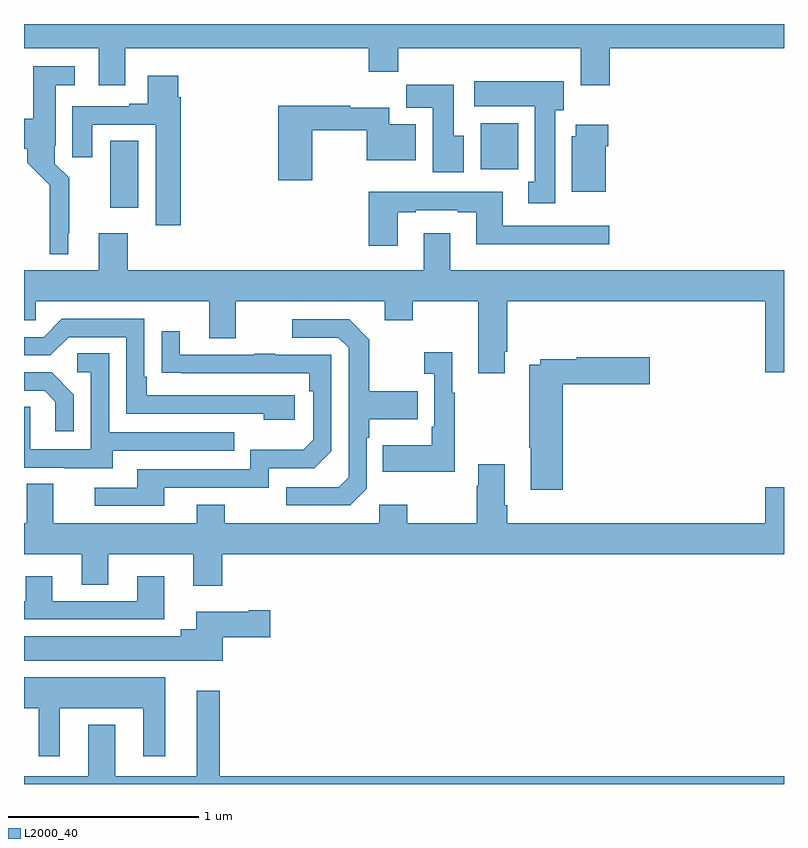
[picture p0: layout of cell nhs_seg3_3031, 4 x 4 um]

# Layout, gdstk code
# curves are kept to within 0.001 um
import gdstk
lib = gdstk.Library(unit=1e-6, precision=1e-09)
def R(c, l, rs):  # rectangles x0, y0, x1, y1
    for r in rs: c.add(gdstk.rectangle(r[:2], r[2:], *l))
def P(c, l, *ps):  # polygons
    for p in ps: c.add(gdstk.Polygon(p, *l))
L2000_40 = (2000, 40)

nhs_seg3_3031 = lib.new_cell('nhs_seg3_3031')
R(nhs_seg3_3031, L2000_40, [(269.453,677.433,269.602,677.786), (271.403,677.636,271.6,677.878)])
P(nhs_seg3_3031, L2000_40, [(269.533,678.272),(270.815,678.272),(270.815,678.148),(270.971,678.148),(270.971,678.272),(271.931,678.272),(271.931,678.078),(272.084,678.078),(272.084,678.272),(273,678.272),(273,678.4),(269,678.4),(269,678.272),(269.393,678.272),(269.393,678.078),(269.533,678.078)],
  [(269.233,677.299),(269.237,677.299),(269.237,677.59),(269.163,677.664),(269.163,677.758),(269.167,677.758),(269.167,678.077),(269.266,678.077),(269.266,678.178),(269.048,678.178),(269.048,677.902),(269,677.902),(269,677.744),(269.018,677.744),(269.018,677.67),(269.136,677.552),(269.135,677.189),(269.233,677.189)],
  [(269.825,678.014),(269.812,678.014),(269.812,678.127),(269.651,678.127),(269.651,677.98),(269.555,677.98),(269.555,677.967),(269.255,677.967),(269.255,677.7),(269.359,677.7),(269.359,677.871),(269.693,677.871),(269.693,677.34),(269.825,677.34)],
  [(271.795,677.946),(271.84,677.946),(271.84,678.1),(271.371,678.1),(271.371,677.966),(271.688,677.966),(271.688,677.57),(271.655,677.57),(271.655,677.457),(271.795,677.457)],
  [(271.315,677.812),(271.261,677.812),(271.261,678.079),(271.012,678.079),(271.012,677.96),(271.151,677.96),(271.151,677.619),(271.315,677.619)],
  [(270.516,677.842),(270.805,677.842),(270.805,677.684),(271.063,677.684),(271.063,677.872),(270.922,677.872),(270.922,677.96),(270.716,677.96),(270.716,677.971),(270.338,677.971),(270.338,677.577),(270.516,677.577)],
  [(272.062,677.756),(272.075,677.756),(272.075,677.869),(271.904,677.869),(271.904,677.808),(271.883,677.808),(271.883,677.516),(272.062,677.516)],
  [(270.967,677.409),(271.063,677.409),(271.063,677.421),(271.283,677.421),(271.283,677.409),(271.379,677.409),(271.379,677.24),(272.08,677.24),(272.08,677.337),(271.519,677.337),(271.519,677.517),(271.059,677.517),(271.059,677.518),(270.815,677.518),(270.815,677.232),(270.967,677.232)],
  [(271.531,676.675),(271.544,676.675),(271.544,676.94),(272.9,676.94),(272.9,676.566),(273,676.566),(273,677.104),(271.243,677.104),(271.243,677.299),(271.103,677.299),(271.103,677.104),(269.546,677.104),(269.546,677.299),(269.393,677.299),(269.393,677.104),(269,677.104),(269,676.842),(269.061,676.842),(269.061,676.94),(269.975,676.94),(269.975,676.746),(270.115,676.746),(270.115,676.94),(270.899,676.94),(270.899,676.841),(271.047,676.841),(271.047,676.94),(271.391,676.94),(271.391,676.563),(271.531,676.563)],
  [(270.424,676.446),(269.647,676.446),(269.647,676.543),(269.634,676.543),(269.634,676.848),(269.199,676.848),(269.103,676.752),(269,676.752),(269,676.656),(269.139,676.656),(269.235,676.752),(269.538,676.752),(269.538,676.35),(270.263,676.35),(270.263,676.316),(270.424,676.316)],
  [(270.804,675.954),(270.804,676.223),(270.817,676.223),(270.817,676.319),(271.073,676.319),(271.073,676.467),(270.817,676.467),(270.817,676.739),(270.711,676.845),(270.411,676.845),(270.411,676.749),(270.654,676.749),(270.708,676.695),(270.708,676.014),(270.657,675.963),(270.381,675.963),(270.381,675.867),(270.717,675.867)],
  [(269.737,675.96),(270.288,675.96),(270.288,676.062),(270.528,676.062),(270.618,676.152),(270.618,676.659),(270.323,676.659),(270.323,676.664),(270.211,676.664),(270.211,676.659),(269.821,676.659),(269.821,676.783),(269.725,676.783),(269.725,676.564),(270.502,676.563),(270.502,676.466),(270.522,676.466),(270.522,676.212),(270.469,676.159),(270.192,676.159),(270.192,676.056),(269.597,676.056),(269.597,675.96),(269.373,675.96),(269.373,675.864),(269.737,675.864)],
  [(271.267,676.459),(271.255,676.459),(271.255,676.672),(271.107,676.672),(271.107,676.559),(271.158,676.559),(271.158,676.279),(271.146,676.279),(271.146,676.183),(270.889,676.183),(270.889,676.043),(271.267,676.043)],
  [(269.467,676.155),(270.107,676.155),(270.107,676.251),(269.448,676.251),(269.448,676.667),(269.28,676.667),(269.28,676.566),(269.352,676.566),(269.352,676.161),(269.034,676.161),(269.034,676.385),(269,676.385),(269,676.065),(269.213,676.065),(269.213,676.061),(269.467,676.061)],
  [(271.835,676.505),(272.293,676.505),(272.293,676.647),(271.908,676.647),(271.908,676.635),(271.716,676.635),(271.716,676.606),(271.66,676.606),(271.66,676.171),(271.667,676.171),(271.667,675.948),(271.835,675.948)],
  [(269.262,676.45),(269.146,676.566),(269,676.566),(269,676.47),(269.108,676.47),(269.165,676.413),(269.165,676.257),(269.262,676.257)],
  [(270.044,675.608),(273,675.608),(273,675.961),(272.9,675.961),(272.9,675.772),(271.544,675.772),(271.544,675.868),(271.531,675.868),(271.531,676.084),(271.391,676.084),(271.391,675.971),(271.384,675.971),(271.384,675.772),(271.017,675.772),(271.017,675.871),(270.87,675.871),(270.87,675.772),(270.057,675.772),(270.057,675.871),(269.909,675.871),(269.909,675.772),(269.155,675.772),(269.155,675.98),(269.015,675.98),(269.015,675.772),(269,675.772),(269,675.608),(269.303,675.608),(269.303,675.448),(269.443,675.448),(269.443,675.608),(269.891,675.608),(269.891,675.444),(270.044,675.444)],
  [(269.737,675.493),(269.597,675.493),(269.597,675.363),(269.149,675.363),(269.149,675.493),(269.009,675.493),(269.009,675.363),(269,675.363),(269,675.267),(269.737,675.267)],
  [(270.046,675.173),(270.295,675.173),(270.295,675.315),(270.182,675.315),(270.182,675.307),(269.906,675.307),(269.906,675.214),(269.825,675.214),(269.825,675.178),(269,675.178),(269,675.05),(270.046,675.05)],
  [(269.188,674.798),(269.627,674.798),(269.627,674.547),(269.743,674.547),(269.743,674.962),(269,674.962),(269,674.798),(269.078,674.798),(269.078,674.547),(269.188,674.547)],
  [(273,674.44),(270.031,674.44),(270.031,674.89),(269.909,674.89),(269.909,674.44),(269.479,674.44),(269.479,674.713),(269.339,674.713),(269.339,674.44),(269,674.44),(269,674.4),(273,674.4)])

lib.write_gds('nhs_seg3_3031.gds')
